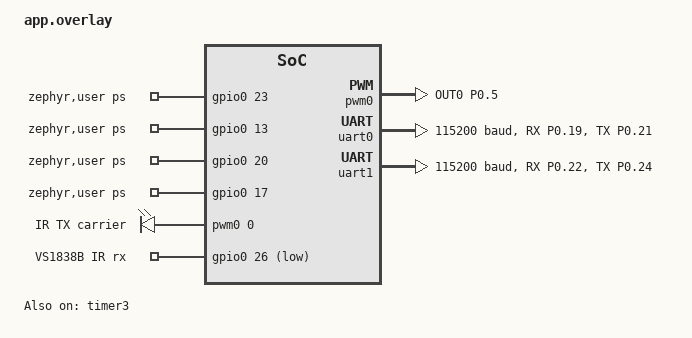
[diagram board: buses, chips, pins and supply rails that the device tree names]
/ {
    chosen {
        zephyr,console = &uart0;
        zephyr,shell-uart = &uart0;
    };

    zephyr,user {
        // program select
        ps-gpios = <&gpio0 23 (GPIO_ACTIVE_HIGH)>,
                   <&gpio0 13 (GPIO_ACTIVE_HIGH)>,
                   <&gpio0 20 (GPIO_ACTIVE_HIGH)>,
                   <&gpio0 17 (GPIO_ACTIVE_HIGH)>;
    };

    ir_tx: ir_tx {
        compatible = "pwm-leds";
        status = "okay";

        ir_tx_led: ir_tx_led {
            pwms = <&pwm0 0 PWM_USEC(26) PWM_POLARITY_NORMAL>;
            label = "IR TX carrier";
        };
    };

    ir_rx: ir_rx {
        compatible = "gpio-keys";
        ir_rx_pin: ir_rx_pin {
            gpios = <&gpio0 26 (GPIO_ACTIVE_LOW | GPIO_PULL_UP)>;
            label = "VS1838B IR rx";
        };
    };

};

&pinctrl {
    uart0_default: uart0_default {
        group1 {
            psels = <NRF_PSEL(UART_RX, 0, 19)>,
                    <NRF_PSEL(UART_TX, 0, 21)>;
        };
    };

    uart1_default: uart1_default {
        group1 {
            psels = <NRF_PSEL(UART_RX, 0, 22)>,
                    <NRF_PSEL(UART_TX, 0, 24)>;
        };
    };

    pwm0_ir_default: pwm0_ir_default {
        group1 {
            psels = <NRF_PSEL(PWM_OUT0, 0, 5)>;
        };
    };

    pwm0_ir_sleep: pwm0_ir_sleep {
        group1 {
            psels = <NRF_PSEL(PWM_OUT0, 0, 5)>;
            low-power-enable;
        };
    };
};


&pwm0 {
    status = "okay";
    pinctrl-0 = <&pwm0_ir_default>;
    pinctrl-1 = <&pwm0_ir_sleep>;
    pinctrl-names = "default", "sleep";
};

&uart0 {
    status = "okay";
    current-speed = <115200>;
    pinctrl-0 = <&uart0_default>;
    pinctrl-names = "default";
    /delete-property/ pinctrl-1;
};

&uart1 {
    status = "okay";
    current-speed = <115200>;
    pinctrl-0 = <&uart1_default>;
    pinctrl-names = "default";
    /delete-property/ pinctrl-1;
};

// 16Mhz for IR
&timer3 {
    status = "okay";
    prescaler = <4>;
};

&uicr {
    nfct-pins-as-gpios;
    gpio-as-nreset;
};
